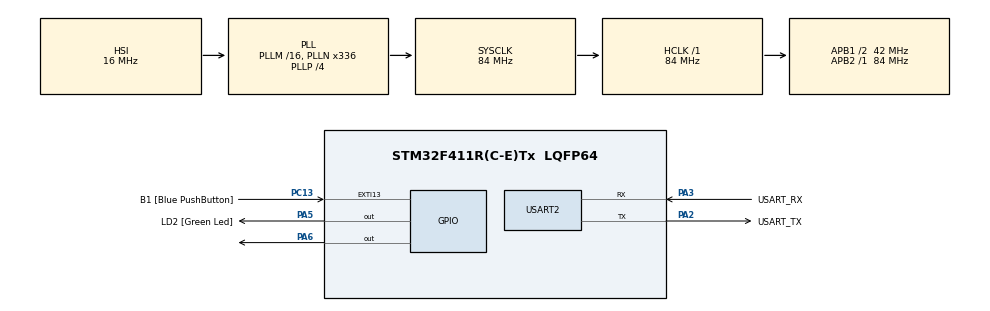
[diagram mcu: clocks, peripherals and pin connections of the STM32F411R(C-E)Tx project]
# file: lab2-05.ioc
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Mcu.Family=STM32F4
Mcu.Name=STM32F411R(C-E)Tx
Mcu.Package=LQFP64
NVIC.PriorityGroup=NVIC_PRIORITYGROUP_0
PA13.GPIO_Label=TMS
PA13.Mode=Serial_Wire
PA13.Signal=SYS_JTMS-SWDIO
PA14.GPIO_Label=TCK
PA14.Mode=Serial_Wire
PA14.Signal=SYS_JTCK-SWCLK
PA2.GPIO_Label=USART_TX
PA2.Mode=Asynchronous
PA2.Signal=USART2_TX
PA3.GPIO_Label=USART_RX
PA3.Mode=Asynchronous
PA3.Signal=USART2_RX
PA5.GPIO_Label=LD2 [Green Led]
PA5.Signal=GPIO_Output
PA6.Signal=GPIO_Output
PB3.GPIO_Label=SWO
PB3.Signal=SYS_JTDO-SWO
PC13-ANTI_TAMP.GPIO_Label=B1 [Blue PushButton]
PC13-ANTI_TAMP.GPIO_ModeDefaultEXTI=GPIO_MODE_IT_FALLING
PC13-ANTI_TAMP.Signal=GPXTI13
PC14-OSC32_IN.Mode=LSE-External-Oscillator
PC14-OSC32_IN.Signal=RCC_OSC32_IN
PC15-OSC32_OUT.Mode=LSE-External-Oscillator
PC15-OSC32_OUT.Signal=RCC_OSC32_OUT
PH0\ -\ OSC_IN.Mode=HSE-External-Clock-Source
PH0\ -\ OSC_IN.Signal=RCC_OSC_IN
PH1\ -\ OSC_OUT.Mode=HSE-External-Clock-Source
PH1\ -\ OSC_OUT.Signal=RCC_OSC_OUT
ProjectManager.HeapSize=0x200
ProjectManager.StackSize=0x400
ProjectManager.TargetToolchain=STM32CubeIDE
RCC.48MHZClocksFreq_Value=84000000
RCC.AHBFreq_Value=84000000
RCC.APB1CLKDivider=RCC_HCLK_DIV2
RCC.APB1Freq_Value=42000000
RCC.APB1TimFreq_Value=84000000
RCC.APB2Freq_Value=84000000
RCC.APB2TimFreq_Value=84000000
RCC.CortexFreq_Value=84000000
RCC.FLatency-AdvancedSettings=FLASH_LATENCY_2
RCC.HCLKFreq_Value=84000000
RCC.HSE_VALUE=8000000
RCC.HSI_VALUE=16000000
RCC.PLLN=336
RCC.PLLP=RCC_PLLP_DIV4
RCC.SYSCLKFreq_VALUE=84000000
RCC.SYSCLKSource=RCC_SYSCLKSOURCE_PLLCLK
RCC.VCOOutputFreq_Value=336000000
USART2.VirtualMode=VM_ASYNC
board=NUCLEO-F411RE

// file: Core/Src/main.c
/* USER CODE BEGIN Header */
/**
  ******************************************************************************
  * @file           : main.c
  * @brief          : Main program body
  ******************************************************************************
  * @attention
  *
  * Copyright (c) 2024 STMicroelectronics.
  * All rights reserved.
  *
  * This software is licensed under terms that can be found in the LICENSE file
  * in the root directory of this software component.
  * If no LICENSE file comes with this software, it is provided AS-IS.
  *
  ******************************************************************************
  */
/* USER CODE END Header */
#include "main.h"

/* USER CODE BEGIN Includes */
#include <string.h>
/* USER CODE END Includes */

UART_HandleTypeDef huart2;

void SystemClock_Config(void);
static void MX_GPIO_Init(void);
static void MX_USART2_UART_Init(void);

/* USER CODE BEGIN 0 */
void serialPut(const char* message, int length) {
	HAL_UART_Transmit(&huart2, message, length, 100);
}

void serialPrint(const char* message) {
	serialPut(message, strlen(message));
}

void serialPrintln(const char* message) {
	serialPrint(message);
	HAL_UART_Transmit(&huart2, "\r\n", 2, 100);
}

void executeCommand(char* message) {
	if (!strcmp(message, "on\r")) {
		HAL_GPIO_WritePin(GPIOA, GPIO_PIN_6, GPIO_PIN_SET);
		serialPrintln("LED is now ON");
	}
	else if (!strcmp(message, "off\r")) {
		HAL_GPIO_WritePin(GPIOA, GPIO_PIN_6, GPIO_PIN_RESET);
		serialPrintln("LED is now OFF");
	}
	else {
		serialPrintln("Unknown Command!");
	}
}
/* USER CODE END 0 */

int main(void)
{

  /* MCU Configuration--------------------------------------------------------*/

  /* Reset of all peripherals, Initializes the Flash interface and the Systick. */
  HAL_Init();

  /* Configure the system clock */
  SystemClock_Config();

  /* Initialize all configured peripherals */
  MX_GPIO_Init();
  MX_USART2_UART_Init();
  /* USER CODE BEGIN 2 */
  serialPrintln("");
  serialPrintln("こんにちわんだほーい!");
  /* USER CODE END 2 */

  /* Infinite loop */
  /* USER CODE BEGIN WHILE */
   uint8_t uartBuffer[10];
   char cmdBuffer[1000];
   int bufferLength = 0;

   while ("true :trollface:")
   {
 	  HAL_StatusTypeDef status = HAL_UART_Receive(&huart2, uartBuffer, 1, 100);
 	  if (status == HAL_OK) {
 		  // Feedback
 		  serialPut(uartBuffer, 1);

 		  cmdBuffer[bufferLength++] = uartBuffer[0];

 		  if (bufferLength >= 1000) {
 			  bufferLength = 0;
 			  serialPrintln("\r\nBuffer Size Limit!!!");
 			  continue;
 		  }

 		  if (uartBuffer[0] == '\r') {
 			  serialPrint("\n");
 			  cmdBuffer[bufferLength] = '\0';
 			  executeCommand(cmdBuffer);
 			  bufferLength = 0;
 		  }
 	  }
    /* USER CODE END WHILE */

  }
}

void SystemClock_Config(void)
{
  RCC_OscInitTypeDef RCC_OscInitStruct = {0};
  RCC_ClkInitTypeDef RCC_ClkInitStruct = {0};

  /** Configure the main internal regulator output voltage
  */
  __HAL_RCC_PWR_CLK_ENABLE();
  __HAL_PWR_VOLTAGESCALING_CONFIG(PWR_REGULATOR_VOLTAGE_SCALE1);

  /** Initializes the RCC Oscillators according to the specified parameters
  * in the RCC_OscInitTypeDef structure.
  */
  RCC_OscInitStruct.OscillatorType = RCC_OSCILLATORTYPE_HSI;
  RCC_OscInitStruct.HSIState = RCC_HSI_ON;
  RCC_OscInitStruct.HSICalibrationValue = RCC_HSICALIBRATION_DEFAULT;
  RCC_OscInitStruct.PLL.PLLState = RCC_PLL_ON;
  RCC_OscInitStruct.PLL.PLLSource = RCC_PLLSOURCE_HSI;
  RCC_OscInitStruct.PLL.PLLM = 16;
  RCC_OscInitStruct.PLL.PLLN = 336;
  RCC_OscInitStruct.PLL.PLLP = RCC_PLLP_DIV4;
  RCC_OscInitStruct.PLL.PLLQ = 4;
  if (HAL_RCC_OscConfig(&RCC_OscInitStruct) != HAL_OK)
  {
    Error_Handler();
  }

  /** Initializes the CPU, AHB and APB buses clocks
  */
  RCC_ClkInitStruct.ClockType = RCC_CLOCKTYPE_HCLK|RCC_CLOCKTYPE_SYSCLK
                              |RCC_CLOCKTYPE_PCLK1|RCC_CLOCKTYPE_PCLK2;
  RCC_ClkInitStruct.SYSCLKSource = RCC_SYSCLKSOURCE_PLLCLK;
  RCC_ClkInitStruct.AHBCLKDivider = RCC_SYSCLK_DIV1;
  RCC_ClkInitStruct.APB1CLKDivider = RCC_HCLK_DIV2;
  RCC_ClkInitStruct.APB2CLKDivider = RCC_HCLK_DIV1;

  if (HAL_RCC_ClockConfig(&RCC_ClkInitStruct, FLASH_LATENCY_2) != HAL_OK)
  {
    Error_Handler();
  }
}

static void MX_USART2_UART_Init(void)
{

  huart2.Instance = USART2;
  huart2.Init.BaudRate = 115200;
  huart2.Init.WordLength = UART_WORDLENGTH_8B;
  huart2.Init.StopBits = UART_STOPBITS_1;
  huart2.Init.Parity = UART_PARITY_NONE;
  huart2.Init.Mode = UART_MODE_TX_RX;
  huart2.Init.HwFlowCtl = UART_HWCONTROL_NONE;
  huart2.Init.OverSampling = UART_OVERSAMPLING_16;
  if (HAL_UART_Init(&huart2) != HAL_OK)
  {
    Error_Handler();
  }

}

static void MX_GPIO_Init(void)
{
  GPIO_InitTypeDef GPIO_InitStruct = {0};

  /* GPIO Ports Clock Enable */
  __HAL_RCC_GPIOC_CLK_ENABLE();
  __HAL_RCC_GPIOH_CLK_ENABLE();
  __HAL_RCC_GPIOA_CLK_ENABLE();
  __HAL_RCC_GPIOB_CLK_ENABLE();

  /*Configure GPIO pin Output Level */
  HAL_GPIO_WritePin(GPIOA, LD2_Pin|GPIO_PIN_6, GPIO_PIN_RESET);

  /*Configure GPIO pin : B1_Pin */
  GPIO_InitStruct.Pin = B1_Pin;
  GPIO_InitStruct.Mode = GPIO_MODE_IT_FALLING;
  GPIO_InitStruct.Pull = GPIO_NOPULL;
  HAL_GPIO_Init(B1_GPIO_Port, &GPIO_InitStruct);

  /*Configure GPIO pins : LD2_Pin PA6 */
  GPIO_InitStruct.Pin = LD2_Pin|GPIO_PIN_6;
  GPIO_InitStruct.Mode = GPIO_MODE_OUTPUT_PP;
  GPIO_InitStruct.Pull = GPIO_NOPULL;
  GPIO_InitStruct.Speed = GPIO_SPEED_FREQ_LOW;
  HAL_GPIO_Init(GPIOA, &GPIO_InitStruct);

}

void Error_Handler(void)
{
  __disable_irq();
  while (1)
  {
  }
}
